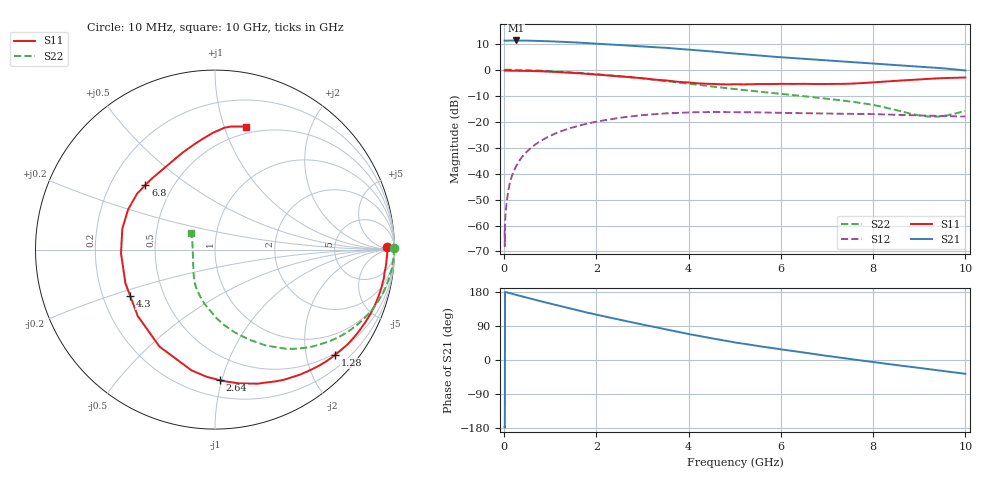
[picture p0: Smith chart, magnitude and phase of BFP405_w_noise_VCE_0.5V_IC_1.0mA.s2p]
! Infineon Technologies  Discrete & RF Semiconductors
! BFP405
! VCE =  0.5 V,  IC =  1.0 mA
! Common Emitter S-Parameters:  Jan 2016
# GHz  S  MA  R  50
!  f  S11  S21  S12  S22
! GHz  MAG  ANG  MAG  ANG  MAG  ANG  MAG  ANG
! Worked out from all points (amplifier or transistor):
!   233 points, 10 MHz to 10 GHz, reference 50 ohm
!   highest |S21| = 11.3 dB at 260 MHz (marker M1)
!   |S21| within 3 dB of that: start of sweep to 3.611 GHz
!   unconditionally stable (mu >= 1): 5.058 GHz to end of sweep
!   at 200 MHz: K = 0.02, MSG = 25.4 dB, |S12| = -39.5 dB
!   at 1.74 GHz: K = 0.26, MSG = 15.7 dB, |S12| = -21.0 dB
!   at 10 GHz: K = 2.03, MAG = 3.1 dB, |S12| = -18.1 dB
!   lowest NFmin = 0.74 dB at 900 MHz
!   S11 on the Smith chart (normalised r, x): 10 MHz: 44, +15; 1.28 GHz: 0.46, -2.58; 2.64 GHz: 0.32, -0.99; 4.3 GHz: 0.32, -0.23; 6.8 GHz: 0.35, +0.35; 10 GHz: 0.43, +1.18
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0.01  0.9599 0.8  3.627 -176.8  0.0008 -43.2  1 0.5
0.015  0.9594 0.2  3.619 -178.7  0.0004 46.6  0.9968 0.3
0.02  0.959 -0.4  3.614 179.4  0.0012 88.4  0.9937 0.0
0.04  0.9594 -1.1  3.613 179.0  0.0021 90.2  0.9955 -0.5
0.09  0.9575 -2.9  3.634 177.2  0.0047 88.3  0.9967 -1.8
0.155  0.9567 -4.9  3.64 175.4  0.0083 87.0  0.9943 -3.2
0.26  0.9528 -8.2  3.653 171.9  0.0138 85.3  0.987 -5.6
0.64  0.9407 -20.5  3.593 159.8  0.0344 77.4  0.9707 -13.3
0.96  0.9188 -30.8  3.529 149.8  0.0513 70.7  0.9435 -19.7
1.28  0.8896 -41.3  3.433 140.2  0.0675 63.9  0.909 -25.8
1.68  0.8456 -54.7  3.298 128.6  0.0863 55.3  0.8598 -33.1
2.2  0.7834 -72.5  3.105 114.3  0.1076 44.8  0.7918 -41.7
2.64  0.7281 -87.9  2.941 102.8  0.1227 36.2  0.731 -48.7
3.4  0.6294 -115.8  2.665 83.5  0.1416 21.7  0.6195 -60.3
4  0.5677 -139.3  2.443 68.5  0.1505 11.3  0.5359 -69.3
4.3  0.5389 -151.1  2.313 61.8  0.1518 6.5  0.4983 -73.4
5.1  0.5223 179.2  2.012 44.7  0.1523 -4.7  0.4142 -84.2
6  0.5333 155.2  1.736 28.1  0.1477 -14.2  0.3423 -94.5
6.8  0.5287 137.2  1.55 14.4  0.1438 -20.5  0.2886 -104.4
8.4  0.6017 100.3  1.241 -11.8  0.1361 -31.9  0.1752 -133.0
9.2  0.6652 88.2  1.111 -24.0  0.1302 -35.9  0.125 -171.2
10  0.7067 76.0  0.966 -36.5  0.125 -38.3  0.1614 144.7
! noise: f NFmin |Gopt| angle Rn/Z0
0.9  0.74  0.71  15  0.57
1.8  1.18  0.58  32  0.51
2.4  1.45  0.48  44  0.46
3  1.56  0.48  58  0.43
4  1.81  0.35  86  0.3
5  2.13  0.33  122  0.21
